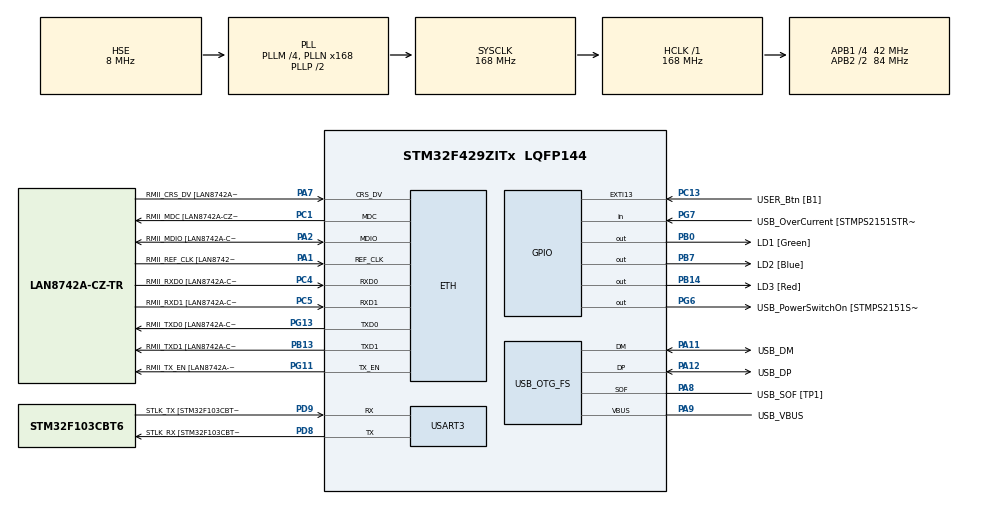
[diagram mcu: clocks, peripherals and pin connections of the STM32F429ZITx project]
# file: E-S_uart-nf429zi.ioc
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ETH.MediaInterface=HAL_ETH_RMII_MODE
ETH.PHY_Name=LAN8742A_PHY_ADDRESS
ETH.PHY_Value=0
ETH.PhyAddress=0
Mcu.Family=STM32F4
Mcu.Name=STM32F429ZITx
Mcu.Package=LQFP144
NVIC.PriorityGroup=NVIC_PRIORITYGROUP_4
PA1.GPIO_Label=RMII_REF_CLK [LAN8742A-CZ-TR_REFCLK0]
PA1.Mode=RMII
PA1.Signal=ETH_REF_CLK
PA10.GPIO_Label=USB_ID
PA10.Signal=USB_OTG_FS_ID
PA11.GPIO_Label=USB_DM
PA11.Mode=Device_Only
PA11.Signal=USB_OTG_FS_DM
PA12.GPIO_Label=USB_DP
PA12.Mode=Device_Only
PA12.Signal=USB_OTG_FS_DP
PA13.GPIO_Label=TMS
PA13.Mode=Serial_Wire
PA13.Signal=SYS_JTMS-SWDIO
PA14.GPIO_Label=TCK
PA14.Mode=Serial_Wire
PA14.Signal=SYS_JTCK-SWCLK
PA2.GPIO_Label=RMII_MDIO [LAN8742A-CZ-TR_MDIO]
PA2.Mode=RMII
PA2.Signal=ETH_MDIO
PA7.GPIO_Label=RMII_CRS_DV [LAN8742A-CZ-TR_CRS_DV]
PA7.Mode=RMII
PA7.Signal=ETH_CRS_DV
PA8.GPIO_Label=USB_SOF [TP1]
PA8.Mode=Activate_SOF_FS
PA8.Signal=USB_OTG_FS_SOF
PA9.GPIO_Label=USB_VBUS
PA9.Mode=Activate_VBUS
PA9.Signal=USB_OTG_FS_VBUS
PB0.GPIO_Label=LD1 [Green]
PB0.Signal=GPIO_Output
PB13.GPIO_Label=RMII_TXD1 [LAN8742A-CZ-TR_TXD1]
PB13.Mode=RMII
PB13.Signal=ETH_TXD1
PB14.GPIO_Label=LD3 [Red]
PB14.Signal=GPIO_Output
PB7.GPIO_Label=LD2 [Blue]
PB7.Signal=GPIO_Output
PC1.GPIO_Label=RMII_MDC [LAN8742A-CZ-TR_MDC]
PC1.Mode=RMII
PC1.Signal=ETH_MDC
PC13.GPIO_Label=USER_Btn [B1]
PC13.Signal=GPXTI13
PC14/OSC32_IN.Mode=LSE-External-Oscillator
PC14/OSC32_IN.Signal=RCC_OSC32_IN
PC15/OSC32_OUT.Mode=LSE-External-Oscillator
PC15/OSC32_OUT.Signal=RCC_OSC32_OUT
PC4.GPIO_Label=RMII_RXD0 [LAN8742A-CZ-TR_RXD0]
PC4.Mode=RMII
PC4.Signal=ETH_RXD0
PC5.GPIO_Label=RMII_RXD1 [LAN8742A-CZ-TR_RXD1]
PC5.Mode=RMII
PC5.Signal=ETH_RXD1
PD8.GPIO_Label=STLK_RX [STM32F103CBT6_PA3]
PD8.Mode=Asynchronous
PD8.Signal=USART3_TX
PD9.GPIO_Label=STLK_TX [STM32F103CBT6_PA2]
PD9.Mode=Asynchronous
PD9.Signal=USART3_RX
PG11.GPIO_Label=RMII_TX_EN [LAN8742A-CZ-TR_TXEN]
PG11.Mode=RMII
PG11.Signal=ETH_TX_EN
PG13.GPIO_Label=RMII_TXD0 [LAN8742A-CZ-TR_TXD0]
PG13.Mode=RMII
PG13.Signal=ETH_TXD0
PG6.GPIO_Label=USB_PowerSwitchOn [STMPS2151STR_EN]
PG6.Signal=GPIO_Output
PG7.GPIO_Label=USB_OverCurrent [STMPS2151STR_FAULT]
PG7.Signal=GPIO_Input
PH0/OSC_IN.GPIO_Label=MCO [STM32F103CBT6_PA8]
PH0/OSC_IN.Mode=HSE-External-Clock-Source
PH0/OSC_IN.Signal=RCC_OSC_IN
PH1/OSC_OUT.Mode=HSE-External-Clock-Source
PH1/OSC_OUT.Signal=RCC_OSC_OUT
ProjectManager.HeapSize=0x200
ProjectManager.StackSize=0x400
ProjectManager.TargetToolchain=STM32CubeIDE
RCC.48MHZClocksFreq_Value=48000000
RCC.AHBFreq_Value=168000000
RCC.APB1CLKDivider=RCC_HCLK_DIV4
RCC.APB1Freq_Value=42000000
RCC.APB1TimFreq_Value=84000000
RCC.APB2CLKDivider=RCC_HCLK_DIV2
RCC.APB2Freq_Value=84000000
RCC.APB2TimCLKDivider=2
RCC.APB2TimFreq_Value=168000000
RCC.CortexFreq_Value=168000000
RCC.HCLKFreq_Value=168000000
RCC.HSE_VALUE=8000000
RCC.HSI_VALUE=16000000
RCC.PLLM=4
RCC.PLLMUL=RCC_PLL_MUL9
RCC.PLLN=168
RCC.PLLQ=7
RCC.PRESCALERUSB=RCC_USBCLKSOURCE_PLL_DIV1_5
RCC.SYSCLKFreq_VALUE=168000000
RCC.SYSCLKSource=RCC_SYSCLKSOURCE_PLLCLK
RCC.SYSCLKSourceVirtual=RCC_SYSCLKSOURCE_PLLCLK
RCC.USBFreq_Value=48000000
RCC.VCOOutputFreq_Value=336000000
USART3.VirtualMode=VM_ASYNC
USB_OTG_FS.VirtualMode=Device_Only
board=NUCLEO-F429ZI

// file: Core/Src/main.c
/* USER CODE BEGIN Header */
/**
  ******************************************************************************
  * @file           : main.c
  * @brief          : Main program body
  ******************************************************************************
  * @attention
  *
  * Copyright (c) 2025 STMicroelectronics.
  * All rights reserved.
  *
  * This software is licensed under terms that can be found in the LICENSE file
  * in the root directory of this software component.
  * If no LICENSE file comes with this software, it is provided AS-IS.
  *
  ******************************************************************************
  */
/* USER CODE END Header */
#include "main.h"
#include "string.h"

/* USER CODE BEGIN PD */
#define DELAY 100
/* USER CODE END PD */

ETH_TxPacketConfig TxConfig;
ETH_DMADescTypeDef  DMARxDscrTab[ETH_RX_DESC_CNT]; /* Ethernet Rx DMA Descriptors */
ETH_DMADescTypeDef  DMATxDscrTab[ETH_TX_DESC_CNT]; /* Ethernet Tx DMA Descriptors */

ETH_HandleTypeDef heth;

UART_HandleTypeDef huart3;

PCD_HandleTypeDef hpcd_USB_OTG_FS;

void SystemClock_Config(void);
static void MX_GPIO_Init(void);
static void MX_ETH_Init(void);
static void MX_USART3_UART_Init(void);
static void MX_USB_OTG_FS_PCD_Init(void);

int main(void)
{

  /* MCU Configuration--------------------------------------------------------*/

  /* Reset of all peripherals, Initializes the Flash interface and the Systick. */
  HAL_Init();

  /* Configure the system clock */
  SystemClock_Config();

  /* Initialize all configured peripherals */
  MX_GPIO_Init();
  MX_ETH_Init();
  MX_USART3_UART_Init();
  MX_USB_OTG_FS_PCD_Init();
  /* USER CODE BEGIN 2 */
  int contador = -2;
  int button_pressed = 0;
  int last_contador = -1;

  uint8_t mensaje[]=" Botón presionado en numero de posicion: ";
  uint8_t led1_on[]=" LED1 encendido \n\r";
  uint8_t led2_on[]=" LED2 encendido \n\r";
  uint8_t led3_on[]=" LED3 encendido \n\r";
  uint8_t led1_off[]=" LED1 apagado \n\r";
  uint8_t led2_off[]=" LED2 apagado \n\r";
  uint8_t led3_off[]=" LED3 apagado \n\r";
  /* USER CODE END 2 */

  /* Infinite loop */
  /* USER CODE BEGIN WHILE */
  while (1)
  {
	  if (HAL_GPIO_ReadPin(GPIOC, GPIO_PIN_13) == GPIO_PIN_RESET) {
	  	if (!button_pressed) {
	  		contador++;
	  		HAL_Delay(DELAY);
	  		if (contador > 5) {
	  			contador = 0;
	  		}
	  		button_pressed = 1;
	  	}
	  } else {
	  	button_pressed = 0;
	  }
	  // Solo ejecutar si hay un cambio en el contador
	  if (contador != last_contador) {
		  last_contador = contador; // Actualiza el último estado impreso
		  switch (contador) {
		  	  case 0:
		  		  HAL_GPIO_WritePin(GPIOB, LD1_Pin, GPIO_PIN_SET);
	  			  HAL_UART_Transmit(&huart3, mensaje, strlen(mensaje), HAL_MAX_DELAY);
	  			  print_number(contador);
	  			  HAL_UART_Transmit(&huart3, led1_on, strlen(led1_on), HAL_MAX_DELAY);
	  			  break;
		  	  case 1:
	  			  HAL_GPIO_WritePin(GPIOB, LD2_Pin, GPIO_PIN_SET);
	  			  HAL_UART_Transmit(&huart3, mensaje, strlen(mensaje), HAL_MAX_DELAY);
	  			  print_number(contador);
	  			  HAL_UART_Transmit(&huart3, led2_on, strlen(led2_on), HAL_MAX_DELAY);
	  			  break;
		  	  case 2:
	  			  HAL_GPIO_WritePin(GPIOB, LD3_Pin, GPIO_PIN_SET);
	  			  HAL_UART_Transmit(&huart3, mensaje, strlen(mensaje), HAL_MAX_DELAY);
	  			  print_number(contador);
	  			  HAL_UART_Transmit(&huart3, led3_on, strlen(led3_on), HAL_MAX_DELAY);
	  			  break;
		  	  case 3:
	  			  HAL_GPIO_WritePin(GPIOB, LD3_Pin, GPIO_PIN_RESET);
	  			  HAL_UART_Transmit(&huart3, mensaje, strlen(mensaje), HAL_MAX_DELAY);
	  			  print_number(contador);
	  			  HAL_UART_Transmit(&huart3, led1_off, strlen(led1_off), HAL_MAX_DELAY);
	  			  break;
		  	  case 4:
	  			  HAL_GPIO_WritePin(GPIOB, LD2_Pin, GPIO_PIN_RESET);
	  			  HAL_UART_Transmit(&huart3, mensaje, strlen(mensaje), HAL_MAX_DELAY);
	  			  print_number(contador);
	  			  HAL_UART_Transmit(&huart3, led2_off, strlen(led2_off), HAL_MAX_DELAY);
	  			  break;
		  	  case 5:
	  			  HAL_GPIO_WritePin(GPIOB, LD1_Pin, GPIO_PIN_RESET);
	  			  HAL_UART_Transmit(&huart3, mensaje, strlen(mensaje), HAL_MAX_DELAY);
	  			  print_number(contador);
	  			  HAL_UART_Transmit(&huart3, led3_off, strlen(led3_off), HAL_MAX_DELAY);
	  			  break;
		  }
	  	}

    /* USER CODE END WHILE */

  }
}

void SystemClock_Config(void)
{
  RCC_OscInitTypeDef RCC_OscInitStruct = {0};
  RCC_ClkInitTypeDef RCC_ClkInitStruct = {0};

  /** Configure the main internal regulator output voltage
  */
  __HAL_RCC_PWR_CLK_ENABLE();
  __HAL_PWR_VOLTAGESCALING_CONFIG(PWR_REGULATOR_VOLTAGE_SCALE1);

  /** Initializes the RCC Oscillators according to the specified parameters
  * in the RCC_OscInitTypeDef structure.
  */
  RCC_OscInitStruct.OscillatorType = RCC_OSCILLATORTYPE_HSE;
  RCC_OscInitStruct.HSEState = RCC_HSE_BYPASS;
  RCC_OscInitStruct.PLL.PLLState = RCC_PLL_ON;
  RCC_OscInitStruct.PLL.PLLSource = RCC_PLLSOURCE_HSE;
  RCC_OscInitStruct.PLL.PLLM = 4;
  RCC_OscInitStruct.PLL.PLLN = 168;
  RCC_OscInitStruct.PLL.PLLP = RCC_PLLP_DIV2;
  RCC_OscInitStruct.PLL.PLLQ = 7;
  if (HAL_RCC_OscConfig(&RCC_OscInitStruct) != HAL_OK)
  {
    Error_Handler();
  }

  /** Initializes the CPU, AHB and APB buses clocks
  */
  RCC_ClkInitStruct.ClockType = RCC_CLOCKTYPE_HCLK|RCC_CLOCKTYPE_SYSCLK
                              |RCC_CLOCKTYPE_PCLK1|RCC_CLOCKTYPE_PCLK2;
  RCC_ClkInitStruct.SYSCLKSource = RCC_SYSCLKSOURCE_PLLCLK;
  RCC_ClkInitStruct.AHBCLKDivider = RCC_SYSCLK_DIV1;
  RCC_ClkInitStruct.APB1CLKDivider = RCC_HCLK_DIV4;
  RCC_ClkInitStruct.APB2CLKDivider = RCC_HCLK_DIV2;

  if (HAL_RCC_ClockConfig(&RCC_ClkInitStruct, FLASH_LATENCY_5) != HAL_OK)
  {
    Error_Handler();
  }
}

static void MX_ETH_Init(void)
{

   static uint8_t MACAddr[6];

  heth.Instance = ETH;
  MACAddr[0] = 0x00;
  MACAddr[1] = 0x80;
  MACAddr[2] = 0xE1;
  MACAddr[3] = 0x00;
  MACAddr[4] = 0x00;
  MACAddr[5] = 0x00;
  heth.Init.MACAddr = &MACAddr[0];
  heth.Init.MediaInterface = HAL_ETH_RMII_MODE;
  heth.Init.TxDesc = DMATxDscrTab;
  heth.Init.RxDesc = DMARxDscrTab;
  heth.Init.RxBuffLen = 1524;

  if (HAL_ETH_Init(&heth) != HAL_OK)
  {
    Error_Handler();
  }

  memset(&TxConfig, 0 , sizeof(ETH_TxPacketConfig));
  TxConfig.Attributes = ETH_TX_PACKETS_FEATURES_CSUM | ETH_TX_PACKETS_FEATURES_CRCPAD;
  TxConfig.ChecksumCtrl = ETH_CHECKSUM_IPHDR_PAYLOAD_INSERT_PHDR_CALC;
  TxConfig.CRCPadCtrl = ETH_CRC_PAD_INSERT;

}

static void MX_USART3_UART_Init(void)
{

  huart3.Instance = USART3;
  huart3.Init.BaudRate = 115200;
  huart3.Init.WordLength = UART_WORDLENGTH_8B;
  huart3.Init.StopBits = UART_STOPBITS_1;
  huart3.Init.Parity = UART_PARITY_NONE;
  huart3.Init.Mode = UART_MODE_TX_RX;
  huart3.Init.HwFlowCtl = UART_HWCONTROL_NONE;
  huart3.Init.OverSampling = UART_OVERSAMPLING_16;
  if (HAL_UART_Init(&huart3) != HAL_OK)
  {
    Error_Handler();
  }

}

static void MX_USB_OTG_FS_PCD_Init(void)
{

  hpcd_USB_OTG_FS.Instance = USB_OTG_FS;
  hpcd_USB_OTG_FS.Init.dev_endpoints = 4;
  hpcd_USB_OTG_FS.Init.speed = PCD_SPEED_FULL;
  hpcd_USB_OTG_FS.Init.dma_enable = DISABLE;
  hpcd_USB_OTG_FS.Init.phy_itface = PCD_PHY_EMBEDDED;
  hpcd_USB_OTG_FS.Init.Sof_enable = ENABLE;
  hpcd_USB_OTG_FS.Init.low_power_enable = DISABLE;
  hpcd_USB_OTG_FS.Init.lpm_enable = DISABLE;
  hpcd_USB_OTG_FS.Init.vbus_sensing_enable = ENABLE;
  hpcd_USB_OTG_FS.Init.use_dedicated_ep1 = DISABLE;
  if (HAL_PCD_Init(&hpcd_USB_OTG_FS) != HAL_OK)
  {
    Error_Handler();
  }

}

static void MX_GPIO_Init(void)
{
  GPIO_InitTypeDef GPIO_InitStruct = {0};

  /* GPIO Ports Clock Enable */
  __HAL_RCC_GPIOC_CLK_ENABLE();
  __HAL_RCC_GPIOH_CLK_ENABLE();
  __HAL_RCC_GPIOA_CLK_ENABLE();
  __HAL_RCC_GPIOB_CLK_ENABLE();
  __HAL_RCC_GPIOD_CLK_ENABLE();
  __HAL_RCC_GPIOG_CLK_ENABLE();

  /*Configure GPIO pin Output Level */
  HAL_GPIO_WritePin(GPIOB, LD1_Pin|LD3_Pin|LD2_Pin, GPIO_PIN_RESET);

  /*Configure GPIO pin Output Level */
  HAL_GPIO_WritePin(USB_PowerSwitchOn_GPIO_Port, USB_PowerSwitchOn_Pin, GPIO_PIN_RESET);

  /*Configure GPIO pin : USER_Btn_Pin */
  GPIO_InitStruct.Pin = USER_Btn_Pin;
  GPIO_InitStruct.Mode = GPIO_MODE_IT_RISING;
  GPIO_InitStruct.Pull = GPIO_NOPULL;
  HAL_GPIO_Init(USER_Btn_GPIO_Port, &GPIO_InitStruct);

  /*Configure GPIO pins : LD1_Pin LD3_Pin LD2_Pin */
  GPIO_InitStruct.Pin = LD1_Pin|LD3_Pin|LD2_Pin;
  GPIO_InitStruct.Mode = GPIO_MODE_OUTPUT_PP;
  GPIO_InitStruct.Pull = GPIO_NOPULL;
  GPIO_InitStruct.Speed = GPIO_SPEED_FREQ_LOW;
  HAL_GPIO_Init(GPIOB, &GPIO_InitStruct);

  /*Configure GPIO pin : USB_PowerSwitchOn_Pin */
  GPIO_InitStruct.Pin = USB_PowerSwitchOn_Pin;
  GPIO_InitStruct.Mode = GPIO_MODE_OUTPUT_PP;
  GPIO_InitStruct.Pull = GPIO_NOPULL;
  GPIO_InitStruct.Speed = GPIO_SPEED_FREQ_LOW;
  HAL_GPIO_Init(USB_PowerSwitchOn_GPIO_Port, &GPIO_InitStruct);

  /*Configure GPIO pin : USB_OverCurrent_Pin */
  GPIO_InitStruct.Pin = USB_OverCurrent_Pin;
  GPIO_InitStruct.Mode = GPIO_MODE_INPUT;
  GPIO_InitStruct.Pull = GPIO_NOPULL;
  HAL_GPIO_Init(USB_OverCurrent_GPIO_Port, &GPIO_InitStruct);

}

/* USER CODE BEGIN 4 */
void print_number(int num) {

	char buffer[6];  // Soporta hasta 5 dígitos + '\0'
    int index = 0;

    num = num + 1;  // Sumar 1 al número antes de procesarlo

    do {
        buffer[index++] = (num % 10) + '0';
        num /= 10;
    } while (num > 0);

    // Invertir el buffer para obtener el número en el orden correcto
    for (int i = 0, j = index - 1; i < j; i++, j--) {
        char temp = buffer[i];
        buffer[i] = buffer[j];
        buffer[j] = temp;
    }

    buffer[index] = '\0';  // Terminar el string

    // Enviar el número por UART
    HAL_UART_Transmit(&huart3, (uint8_t*)buffer, index, HAL_MAX_DELAY);
    HAL_UART_Transmit(&huart3, (uint8_t*)"\r\n", 2, HAL_MAX_DELAY);
}
/* USER CODE END 4 */

void Error_Handler(void)
{
  __disable_irq();
  while (1)
  {
  }
}
